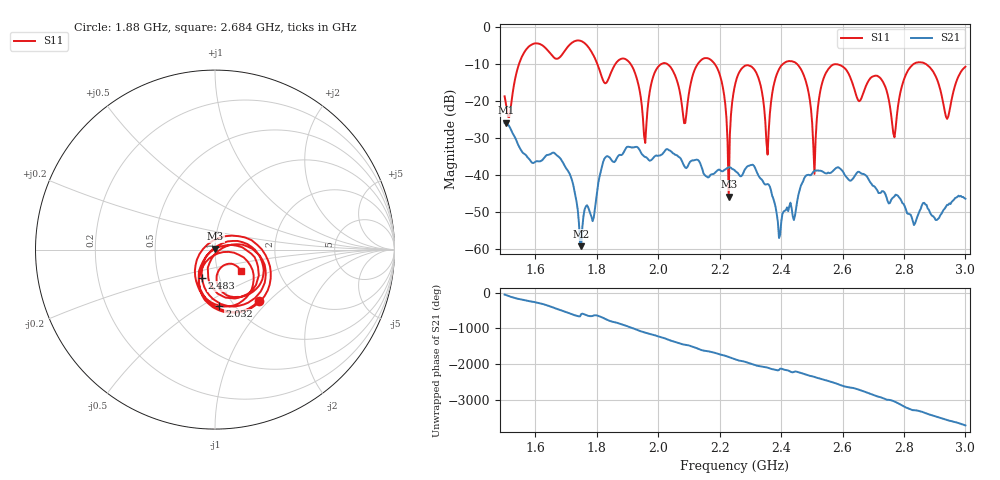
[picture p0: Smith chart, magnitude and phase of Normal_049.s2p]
# HZ S RI R 50
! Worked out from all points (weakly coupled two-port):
!   404 points, 1.5 GHz to 3 GHz, reference 50 ohm
!   highest |S21| = -25.80 dB at 1.504 GHz (marker M1); lowest = -59.1 dB at 1.749 GHz (marker M2)
!   lowest |S11| = -45.7 dB at 2.23 GHz (marker M3), VSWR 1.01, Z = 50.1 + j0.503 ohm
!   |S11| at or under -10 dB: 2.185 GHz to 2.405 GHz (220.2 MHz wide, 9.6 % of centre); 2.583 GHz to 2.83 GHz (247.6 MHz wide, 9.15 % of centre); 2.873 GHz to end of sweep (the widest 3 of 8)
!   S12 and S22 are empty: the file has one direction only
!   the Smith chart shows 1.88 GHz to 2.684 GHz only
!   S11 on the Smith chart (normalised r, x): 1.88 GHz: 1.32, -0.87; 2.032 GHz: 0.86, -0.59; 2.483 GHz: 0.82, -0.27; 2.684 GHz: 1.29, -0.32
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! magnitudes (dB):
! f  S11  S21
! 1.5 GHz  -18.6  -25.8
! 1.504 GHz  -20.4  -25.8
! 1.682 GHz  -7.9  -35.5
! 1.749 GHz  -3.7  -59.1
! 1.753 GHz  -3.9  -54.0
! 1.88 GHz  -8.5  -34.5
! 1.958 GHz  -31.2  -35.0
! 2.002 GHz  -10.4  -34.6
! 2.032 GHz  -10.1  -33.0
! 2.084 GHz  -25.9  -37.4
! 2.181 GHz  -9.6  -39.6
! 2.23 GHz  -45.7  -37.8
! 2.252 GHz  -14.9  -38.9
! 2.315 GHz  -11.7  -37.9
! 2.356 GHz  -34.4  -42.3
! 2.393 GHz  -11.3  -56.9
! 2.483 GHz  -15.2  -40.0
! 2.501 GHz  -25.9  -39.5
! 2.561 GHz  -10.6  -39.3
! 2.684 GHz  -14.6  -40.9
! 2.751 GHz  -19.6  -47.6
! 3 GHz  -10.7  -46.3
